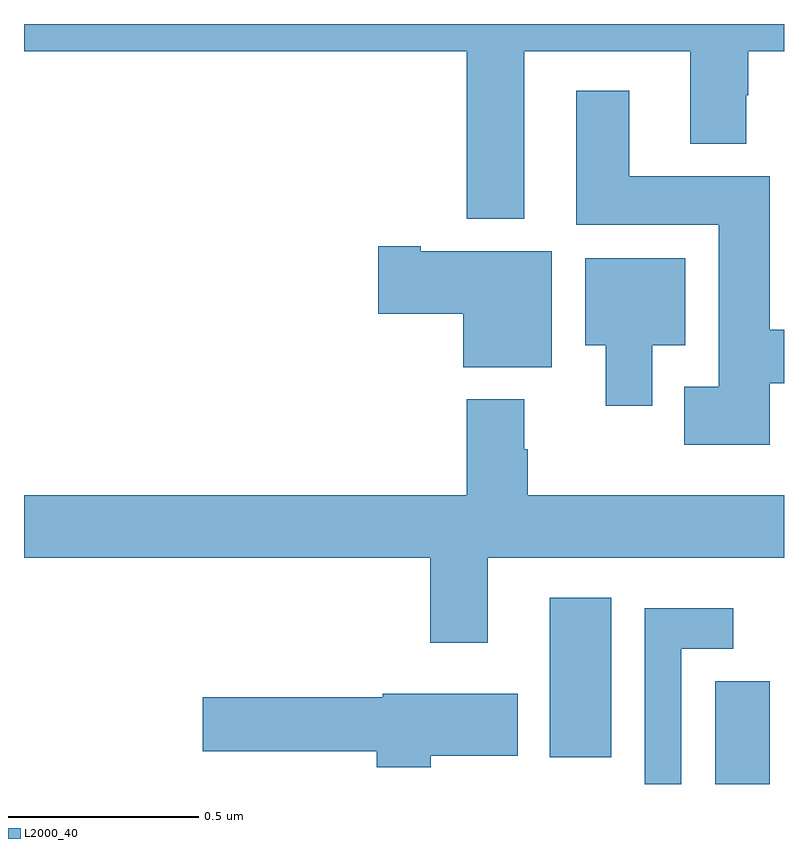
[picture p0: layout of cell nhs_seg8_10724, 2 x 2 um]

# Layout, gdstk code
import gdstk
lib = gdstk.Library(unit=1e-6, precision=1e-09)
def R(c, l, rs):  # rectangles x0, y0, x1, y1
    for r in rs: c.add(gdstk.rectangle(r[:2], r[2:], *l))
def P(c, l, *ps):  # polygons
    for p in ps: c.add(gdstk.Polygon(p, *l))
L2000_40 = (2000, 40)

nhs_seg8_10724 = lib.new_cell('nhs_seg8_10724')
R(nhs_seg8_10724, L2000_40, [(254.819,1119.9,254.962,1120.171), (254.384,1119.971,254.545,1120.39)])
P(nhs_seg8_10724, L2000_40, [(254.317,1121.828),(254.753,1121.828),(254.753,1121.585),(254.901,1121.585),(254.901,1121.712),(254.906,1121.712),(254.906,1121.828),(255,1121.828),(255,1121.9),(253,1121.9),(253,1121.828),(254.165,1121.828),(254.165,1121.387),(254.317,1121.387)],
  [(254.963,1120.954),(255,1120.954),(255,1121.096),(254.963,1121.096),(254.963,1121.5),(254.593,1121.5),(254.593,1121.725),(254.453,1121.725),(254.453,1121.372),(254.828,1121.372),(254.828,1120.945),(254.738,1120.945),(254.738,1120.793),(254.963,1120.793)],
  [(254.389,1121.302),(254.044,1121.302),(254.044,1121.315),(253.932,1121.315),(253.932,1121.137),(254.156,1121.137),(254.156,1120.997),(254.389,1120.997)],
  [(254.653,1121.054),(254.74,1121.054),(254.74,1121.284),(254.477,1121.284),(254.477,1121.054),(254.531,1121.054),(254.531,1120.896),(254.653,1120.896)],
  [(254.221,1120.496),(255,1120.496),(255,1120.66),(254.325,1120.66),(254.325,1120.781),(254.317,1120.781),(254.317,1120.912),(254.165,1120.912),(254.165,1120.66),(253,1120.66),(253,1120.496),(254.069,1120.496),(254.069,1120.272),(254.221,1120.272)],
  [(254.73,1120.256),(254.866,1120.256),(254.866,1120.363),(254.634,1120.363),(254.634,1119.9),(254.73,1119.9)],
  [(254.07,1119.974),(254.299,1119.974),(254.299,1120.138),(253.944,1120.138),(253.944,1120.128),(253.47,1120.128),(253.47,1119.986),(253.928,1119.986),(253.928,1119.944),(254.07,1119.944)])

lib.write_gds('nhs_seg8_10724.gds')
